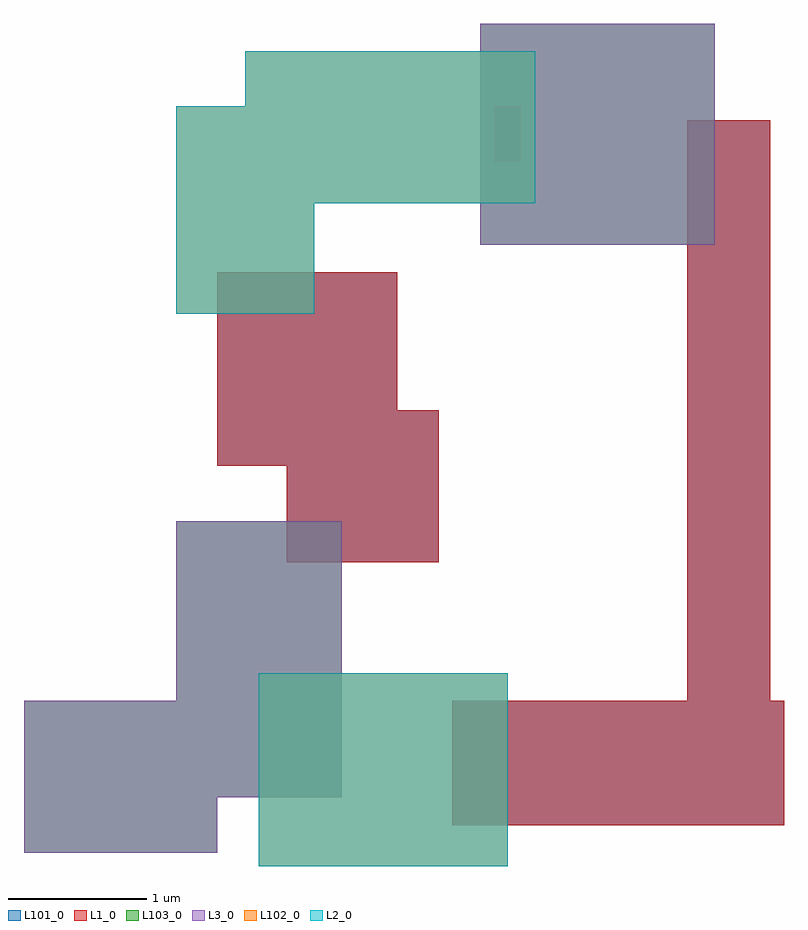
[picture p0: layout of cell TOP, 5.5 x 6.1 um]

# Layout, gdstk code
from math import pi, radians
import gdstk
lib = gdstk.Library(unit=1e-6, precision=1e-09)
def R(c, l, rs):  # rectangles x0, y0, x1, y1
    for r in rs: c.add(gdstk.rectangle(r[:2], r[2:], *l))
L1_0 = (1, 0)
L2_0 = (2, 0)
L3_0 = (3, 0)
L101_0 = (101, 0)
L102_0 = (102, 0)
L103_0 = (103, 0)

c_c1 = lib.new_cell('C1')
R(c_c1, L1_0, [(-2.7,-3.3,-1.8,-0.9), (-2.1,-3.2,2.4,-2.6), (-0.8,-0.8,0.3,0.3), (-0.1,-0.5,1.3,0.8)])
R(c_c1, L2_0, [(1.8,-1.5,2.9,0.6), (-3,-1.3,-1.6,0.5), (1,0.1,2.5,1.1)])
R(c_c1, L3_0, [(1.5,-2.8,3.1,-1.1), (-2.5,-0.1,-0.5,1.1), (-2.9,0.8,-1.8,2.2)])
c_c1.add(gdstk.Label('N2', (2,0.9), layer=2, texttype=0))
c_c1.add(gdstk.Label('N1', (2.3,-2.1), layer=3, texttype=0))

conn = lib.new_cell('CONN')
R(conn, L1_0, [(0,0,0.2,0.4)])
conn.add(gdstk.Label('NCONN', (0.1,0.2), layer=1, texttype=0))

top = lib.new_cell('TOP')
R(top, L101_0, [(3.1,0.3,5.5,1.2), (4.8,0.9,5.4,5.4), (1.9,2.2,3,3.3), (1.4,2.9,2.7,4.3), (3.4,5.1,3.6,5.5)])
R(top, L102_0, [(1.7,0,3.5,1.4), (1.1,4,2.1,5.5), (1.6,4.8,3.7,5.9)])
R(top, L103_0, [(0,0.1,1.4,1.2), (1.1,0.5,2.3,2.5), (3.3,4.5,5,6.1)])
top.add(gdstk.Reference(c_c1, (2.2,3), rotation=pi/2))
top.add(gdstk.Reference(conn, (3.4,5.1)))

lib.write_gds('TOP.gds')
